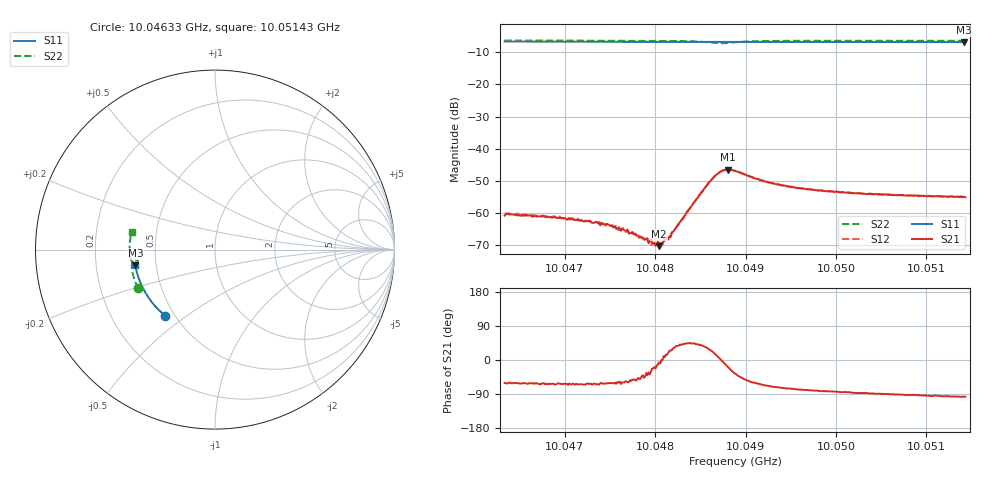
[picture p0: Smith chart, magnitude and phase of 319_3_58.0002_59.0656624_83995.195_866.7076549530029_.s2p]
#  HZ  S  RI  R  50.00
! Rohde & Schwarz Vector Network Analyzer
! Rohde-Schwarz,ZNB20-2Port,1311601062101988,3.16
! Created: UTC 3/21/2024, 1:04:38 AM
! freq[Hz]  re:S11  im:S11  re:S21  im:S21  re:S12  im:S12  re:S22  im:S22
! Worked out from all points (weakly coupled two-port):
!   401 points, 10.04633 GHz to 10.05143 GHz, reference 50 ohm
!   highest |S21| = -46.46 dB at 10.04881 GHz (marker M1); lowest = -70.3 dB at 10.04804 GHz (marker M2)
!   lowest |S11| = -6.9 dB at 10.05142 GHz (marker M3), VSWR 2.65, Z = 19 - j4.18 ohm
!   |S11| at or under -10 dB: nowhere
!   |S22| runs from -7.2 to -6.4 dB; largest |S21 - S12| = 0.00033
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1.0046334e10  -0.2768 -0.3691  0.000451 -0.000796  0.000561 -0.000823  -0.4286 -0.2165
1.0046755e10  -0.2979 -0.3509  0.000423 -0.000811  0.000475 -0.000749  -0.4399 -0.1905
1.0047188e10  -0.3187 -0.331  0.000337 -0.000684  0.000399 -0.000659  -0.45 -0.1627
1.0047494e10  -0.3324 -0.3163  0.000313 -0.000569  0.000346 -0.000519  -0.456 -0.1424
1.004757e10  -0.3357 -0.3124  0.000259 -0.000503  0.000338 -0.000528  -0.4572 -0.1371
1.0047723e10  -0.3423 -0.3048  0.000295 -0.000391  0.000321 -0.000409  -0.4598 -0.1264
1.0047838e10  -0.347 -0.2989  0.000281 -0.000331  0.000305 -0.000299  -0.4611 -0.1182
1.0047889e10  -0.3491 -0.2963  0.000283 -0.000263  0.000305 -0.000254  -0.4619 -0.1145
1.0047953e10  -0.3519 -0.2931  0.000336 -0.000205  0.000281 -0.000148  -0.4625 -0.1095
1.0048042e10  -0.3555 -0.2884  0.000305 -3.35e-05  0.000348 -2.19e-05  -0.4632 -0.1026
1.0048067e10  -0.3564 -0.287  0.000343 -2.33e-06  0.000349 4.91e-05  -0.4635 -0.1006
1.0048169e10  -0.3604 -0.2816  0.000382 0.000181  0.000376 0.000205  -0.4636 -0.0921
1.0048488e10  -0.3724 -0.2643  0.00147 0.0012  0.00138 0.0013  -0.4555 -0.0631
1.0048641e10  -0.3777 -0.256  0.00328 0.00125  0.00324 0.00143  -0.4389 -0.056
1.0048717e10  -0.3804 -0.2517  0.00435 0.000235  0.00435 0.00052  -0.4308 -0.0622
1.0048807e10  -0.3833 -0.247  0.00448 -0.00157  0.00459 -0.00133  -0.433 -0.074
1.0048883e10  -0.3858 -0.2426  0.00369 -0.00264  0.00384 -0.00245  -0.4423 -0.0781
1.0049265e10  -0.3984 -0.2207  0.00108 -0.00278  0.00126 -0.00273  -0.4695 -0.051
1.0049737e10  -0.4118 -0.1929  0.0004 -0.00228  0.00053 -0.00227  -0.4753 -0.0144
1.0050591e10  -0.4313 -0.1403  1.77e-06 -0.00193  0.000137 -0.00193  -0.4739 0.0451
1.0051419e10  -0.4436 -0.0875  -0.000217 -0.00177  -0.000138 -0.00176  -0.4649 0.0996
1.0051432e10  -0.4439 -0.0867  -0.000206 -0.00175  -0.000121 -0.00178  -0.4647 0.1005
